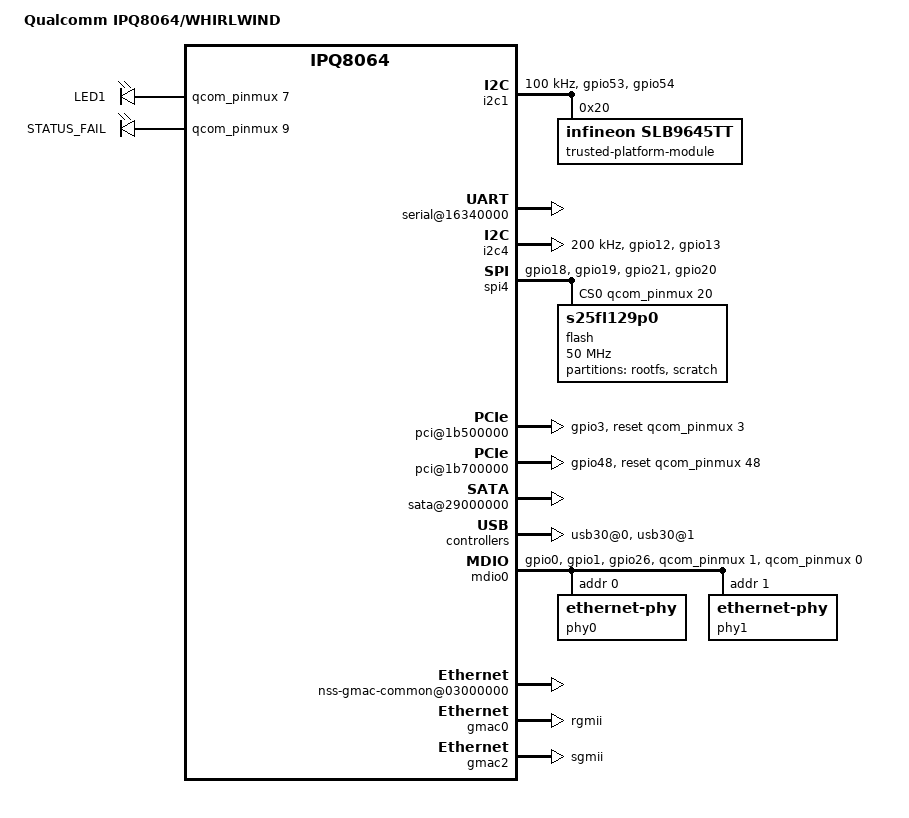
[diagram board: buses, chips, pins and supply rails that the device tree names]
/*
 * Copyright (c) 2014-2016, The Linux Foundation. All rights reserved.
 *
 * Permission to use, copy, modify, and/or distribute this software for any
 * purpose with or without fee is hereby granted, provided that the above
 * copyright notice and this permission notice appear in all copies.
 *
 * THE SOFTWARE IS PROVIDED "AS IS" AND THE AUTHOR DISCLAIMS ALL WARRANTIES
 * WITH REGARD TO THIS SOFTWARE INCLUDING ALL IMPLIED WARRANTIES OF
 * MERCHANTABILITY AND FITNESS. IN NO EVENT SHALL THE AUTHOR BE LIABLE FOR
 * ANY SPECIAL, DIRECT, INDIRECT, OR CONSEQUENTIAL DAMAGES OR ANY DAMAGES
 * WHATSOEVER RESULTING FROM LOSS OF USE, DATA OR PROFITS, WHETHER IN AN
 * ACTION OF CONTRACT, NEGLIGENCE OR OTHER TORTIOUS ACTION, ARISING OUT OF
 * OR IN CONNECTION WITH THE USE OR PERFORMANCE OF THIS SOFTWARE.
 */

#include "qcom-ipq8064-v1.0.dtsi"
#include <dt-bindings/interrupt-controller/arm-gic.h>
#include <dt-bindings/interrupt-controller/irq.h>

/ {
	model = "Qualcomm IPQ8064/WHIRLWIND";
	compatible = "google,storm-proto0", "qcom,ipq8064";

	reserved-memory {
		#address-cells = <1>;
		#size-cells = <1>;
		rsvd@41200000 {
			reg = <0x41200000 0x300000>;
			no-map;
		};
	};

	aliases {
		mdio-gpio0 = &mdio0;
	};

	soc {
		pinmux@800000 {
			pinctrl-0 = <&rgmii0_pinmux>;
			pinctrl-names = "default";

			sdcc1_pins: sdcc1_pinmux {
				mux {
					pins = "gpio38", "gpio39", "gpio40",
					       "gpio41", "gpio42", "gpio43",
					       "gpio44", "gpio45", "gpio46",
					       "gpio47";
					function = "sdc1";
				};
				cmd {
					pins = "gpio45";
					drive-strength = <10>;
					bias-pull-up;
				};
				data {
					pins = "gpio38", "gpio39", "gpio40",
					       "gpio41", "gpio43", "gpio44",
					       "gpio46", "gpio47";
					drive-strength = <10>;
					bias-pull-up;
				};
				clk {
					pins = "gpio42";
					drive-strength = <16>;
					bias-pull-down;
				};
			};

			i2c1_pins: i2c1_pinmux {
				pins = "gpio53", "gpio54";
				function = "gsbi1";
				bias-disable;
			};

			i2c4_pins: i2c4_pinmux {
				pins = "gpio12", "gpio13";
				function = "gsbi4";
				bias-disable;
			};

			pcie1_pins: pcie1_pinmux {
				mux {
					pins = "gpio3";
					drive-strength = <2>;
					bias-disable;
				};
			};

			pcie2_pins: pcie2_pinmux {
				mux {
					pins = "gpio48";
					drive-strength = <2>;
					bias-disable;
				};
			};

			pcie3_pins: pcie3_pinmux {
				mux {
					pins = "gpio63";
					drive-strength = <2>;
					bias-disable;
				};
			};

			rgmii0_pinmux: rgmii0_pinmux {
				mux {
					pins = "gpio2", "gpio66";
					drive-strength = <8>;
					bias-disable;
				};
			};

			spi_pins: spi_pins {
				mux {
					pins = "gpio18", "gpio19", "gpio21";
					function = "gsbi5";
					bias-pull-down;
				};
				data {
					pins = "gpio18", "gpio19";
					drive-strength = <10>;
				};
				cs {
					pins = "gpio20";
					drive-strength = <10>;
					bias-pull-up;
				};
				clk {
					pins = "gpio21";
					drive-strength = <12>;
				};
			};

			leds_pins: led_pinmux {
				mux {
					pins = "gpio7", "gpio9";
					drive-strength = <2>;
					bias-none;
					output-high;
				};
			};

			mdio0_pins_default: mdio0_pins_default {
				mux {
					pins = "gpio0", "gpio1";
					function = "mdio";
					drive-strength = <8>;
					bias-disable;
				};

				clk {
					pins = "gpio1";
					input-disable;
				};
			};

			switch_reset: switch_reset {
				rst {
					pins = "gpio26";
					output-low;
				};
			};
		};

		gsbi1: gsbi@12440000 {
			qcom,mode = <GSBI_PROT_I2C_UART>;
			status = "ok";

			i2c1: i2c@12460000 {
				status = "ok";

				clock-frequency = <100000>;

				pinctrl-0 = <&i2c1_pins>;
				pinctrl-names = "default";

				trusted-platform-module {
					compatible = "infineon,slb9645tt";
					reg = <0x20>;
					powered-while-suspended;
				};
			};
		};

		gsbi@16300000 {
			qcom,mode = <GSBI_PROT_I2C_UART>;
			status = "ok";
			serial@16340000 {
				status = "ok";
			};

			i2c4: i2c@16380000 {
				status = "ok";

				clock-frequency = <200000>;

				pinctrl-0 = <&i2c4_pins>;
				pinctrl-names = "default";
			};
		};

		gsbi5: gsbi@1a200000 {
			qcom,mode = <GSBI_PROT_SPI>;
			status = "ok";

			spi4: spi@1a280000 {
				status = "ok";
				spi-max-frequency = <50000000>;

				pinctrl-0 = <&spi_pins>;
				pinctrl-names = "default";

				cs-gpios = <&qcom_pinmux 20 0>;

				dmas = <&adm_dma 6 9>,
					<&adm_dma 5 10>;
				dma-names = "rx", "tx";

				flash: m25p80@0 {
					compatible = "s25fl129p0";
					#address-cells = <1>;
					#size-cells = <1>;
					spi-max-frequency = <50000000>;
					reg = <0>;
					m25p,fast-read;

					partition@0 {
						label = "rootfs";
						reg = <0x0 0x1000000>;
					};

					partition@1 {
						label = "scratch";
						reg = <0x1000000 0x1000000>;
					};
				};
			};
		};

		pci@1b500000 {
			status = "ok";
			reset-gpio = <&qcom_pinmux 3 0>;
			pinctrl-0 = <&pcie1_pins>;
			pinctrl-names = "default";

			ranges = <0x00000000 0 0x00000000 0x0ff00000 0 0x00100000   /* configuration space */
				  0x81000000 0 0	  0x0fe00000 0 0x00100000   /* downstream I/O */
				  0x82000000 0 0x00000000 0x08000000 0 0x07e00000>; /* non-prefetchable memory */
		};

		pci@1b700000 {
			status = "ok";
			reset-gpio = <&qcom_pinmux 48 0>;
			pinctrl-0 = <&pcie2_pins>;
			pinctrl-names = "default";

			ranges = <0x00000000 0 0x00000000 0x31f00000 0 0x00100000   /* configuration space */
				  0x81000000 0 0	  0x31e00000 0 0x00100000   /* downstream I/O */
				  0x82000000 0 0x00000000 0x2e000000 0 0x03e00000>; /* non-prefetchable memory */

		};

		pci@1b900000 {
			/* TODO(mka): temporarily disable the bus with the aux wlan interface as
			   workaround for chrome-os-partner:32322 */
			status = "disabled";
			reset-gpio = <&qcom_pinmux 63 0>;
			pinctrl-0 = <&pcie3_pins>;
			pinctrl-names = "default";

			ranges = <0x00000000 0 0x00000000 0x35f00000 0 0x00100000   /* configuration space */
				  0x81000000 0 0	  0x35e00000 0 0x00100000   /* downstream I/O */
				  0x82000000 0 0x00000000 0x32000000 0 0x03e00000>; /* non-prefetchable memory */

		};

		sata-phy@1b400000 {
			status = "ok";
		};

		sata@29000000 {
			status = "ok";
		};

		dma@18300000 {
			status = "ok";
		};

		tcsr@1a400000 {
			status = "ok";
			qcom,usb-ctrl-select = <TCSR_USB_SELECT_USB3_DUAL>;
		};

		phy@100f8800 {		/* USB3 port 1 HS phy */
			status = "ok";
		};

		phy@100f8830 {		/* USB3 port 1 SS phy */
			status = "ok";
		};

		phy@110f8800 {		/* USB3 port 0 HS phy */
			status = "ok";
		};

		phy@110f8830 {		/* USB3 port 0 SS phy */
			status = "ok";
		};

		usb30@0 {
			status = "ok";
		};

		usb30@1 {
			status = "ok";
		};

		gpio-leds {
			compatible = "gpio-leds";
			pinctrl-0 = <&leds_pins>;

			led1 {
				gpios = <&qcom_pinmux 7 0>;
				label = "LED1";
				default-state = "off";
			};

			statusfail {
				gpios = <&qcom_pinmux 9 0>;
				label = "STATUS_FAIL";
				default-state = "off";
			};
		};

		amba {
			/* eMMC */
			sdcc1: sdcc@12400000 {
				status = "okay";
				pinctrl-0 = <&sdcc1_pins>;
				pinctrl-names = "default";
			};

			/* External micro SD card */
			sdcc3: sdcc@12180000 {
				status = "okay";
			};
		};

		mdio0: mdio {
			compatible = "virtual,mdio-gpio";
			#address-cells = <1>;
			#size-cells = <0>;
			gpios = <&qcom_pinmux 1 0 &qcom_pinmux 0 0>;
			pinctrl-0 = <&mdio0_pins_default &switch_reset>;
			pinctrl-names = "default";

			phy0: ethernet-phy@0 {
				device_type = "ethernet-phy";
				reg = <0>;
				qca,ar8327-initvals = <
					0x00004 0x7600000   /* PAD0_MODE */
					0x00008 0x1000000   /* PAD5_MODE */
					0x0000c 0x80        /* PAD6_MODE */
					0x000e4 0xaa545     /* MAC_POWER_SEL */
					0x000e0 0xc74164de  /* SGMII_CTRL */
					0x0007c 0x4e        /* PORT0_STATUS */
					0x00094 0x4e        /* PORT6_STATUS */
				>;
			};

			phy1: ethernet-phy@1 {
				device_type = "ethernet-phy";
				reg = <1>;
			};
		};

		nss0: nss@40000000 {
			compatible = "qcom,nss";
			interrupts = <GIC_SPI 213 IRQ_TYPE_LEVEL_HIGH>,
				     <GIC_SPI 232 IRQ_TYPE_LEVEL_HIGH>;
			reg = <0x36000000 0x1000 0x39000000 0x10000>;
			reg-names = "nphys", "vphys";
			clocks = <&gcc NSS_CORE_CLK>, <&gcc NSSTCM_CLK_SRC>,
				 <&gcc NSSTCM_CLK>, <&nss_fabric0_clk>,
				 <&nss_fabric1_clk>;
			clock-names = "nss-core-clk", "nss-tcm-src",
				      "nss-tcm-clk", "nss-fab0-clk",
				      "nss-fab1-clk";
			resets = <&gcc UBI32_CORE1_CLKRST_CLAMP_RESET>,
				 <&gcc UBI32_CORE1_CLAMP_RESET>,
				 <&gcc UBI32_CORE1_AHB_RESET>,
				 <&gcc UBI32_CORE1_AXI_RESET>;
			reset-names = "clkrst-clamp", "clamp", "ahb", "axi";

			qcom,id = <0>;
			qcom,num-irq = <2>;
			qcom,num-queue = <2>;
			qcom,load-addr = <0x40000000>;
			qcom,turbo-frequency;

			qcom,low-frequency = <110000000>;
			qcom,mid-frequency = <550000000>;
			qcom,max-frequency = <733000000>;

			qcom,ipv4-enabled;
			qcom,ipv6-enabled;
			qcom,shaping-enabled;
			qcom,tun6rd-enabled;
			qcom,tunipip6-enabled;
			qcom,wlanredirect-enabled;
		};

		nss-gmac-common@03000000 {
			compatible = "qcom,nss-gmac-common";
			reg = <0x03000000 0x0000FFFF 0x1bb00000 0x0000FFFF 0x00900000 0x00004000>;
			reg-names = "nss_reg_base" , "qsgmii_reg_base", "clk_ctl_base";
		};

		gmac0: ethernet@37000000 {
			device_type = "network";
			compatible = "qcom,nss-gmac";
			reg = <0x37000000 0x200000>;
			interrupts = <GIC_SPI 220 IRQ_TYPE_LEVEL_HIGH>;
			phy-mode = "rgmii";
			qcom,id = <0>;			/* gmac0 */
			qcom,phy-mdio-addr = <1>;	/* phy1 */
			qcom,poll-required = <1>;	/* enable polling */
			qcom,rgmii-delay = <0>;
			qcom,emulation = <0>;
			qcom,forced-speed = <1000>;	/* Force speed 1G */
			qcom,forced-duplex = <1>;	/* Force duplex FD */
			qcom,socver = <0>;
			local-mac-address = [000000000000];
			mdiobus = <&mdio0>;
		};

		gmac2: ethernet@37400000 {
			device_type = "network";
			compatible = "qcom,nss-gmac";
			reg = <0x37400000 0x200000>;
			interrupts = <GIC_SPI 226 IRQ_TYPE_LEVEL_HIGH>;
			phy-mode = "sgmii";
			qcom,id = <2>;
			qcom,phy-mdio-addr = <0>;
			qcom,poll-required = <0>;	/* no polling */
			qcom,rgmii-delay = <0>;
			qcom,emulation = <0>;
			qcom,forced-speed = <1000>;	/* Force speed 1G */
			qcom,forced-duplex = <1>;	/* Force duplex FD */
			qcom,socver = <0>;
			local-mac-address = [000000000000];
			mdiobus = <&mdio0>;
		};
	};
};
